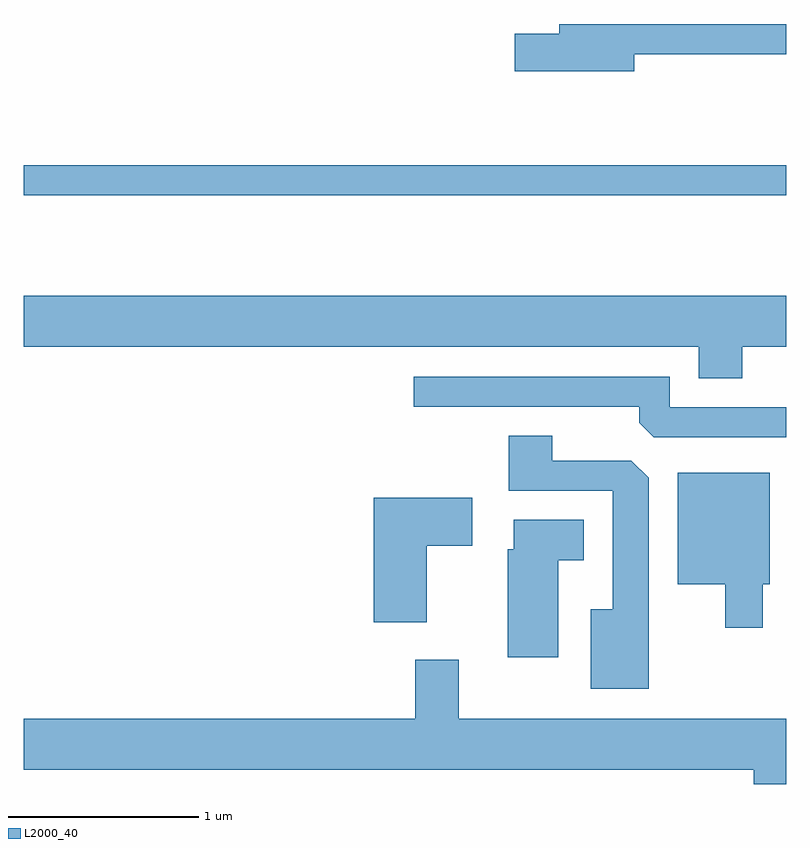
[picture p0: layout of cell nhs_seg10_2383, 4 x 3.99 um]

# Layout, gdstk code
import gdstk
lib = gdstk.Library(unit=1e-6, precision=1e-09)
def R(c, l, rs):  # rectangles x0, y0, x1, y1
    for r in rs: c.add(gdstk.rectangle(r[:2], r[2:], *l))
def P(c, l, *ps):  # polygons
    for p in ps: c.add(gdstk.Polygon(p, *l))
L2000_40 = (2000, 40)

nhs_seg10_2383 = lib.new_cell('nhs_seg10_2383')
R(nhs_seg10_2383, L2000_40, [(255.611,2103.611,259.611,2103.769)])
P(nhs_seg10_2383, L2000_40, [(258.814,2104.351),(259.611,2104.351),(259.611,2104.509),(258.421,2104.509),(258.421,2104.459),(258.186,2104.459),(258.186,2104.261),(258.814,2104.261)],
  [(259.379,2102.816),(259.611,2102.816),(259.611,2103.084),(255.611,2103.084),(255.611,2102.816),(259.151,2102.816),(259.151,2102.651),(259.379,2102.651)],
  [(259.611,2102.499),(258.999,2102.499),(258.999,2102.659),(257.658,2102.659),(257.658,2102.501),(258.841,2102.501),(258.841,2102.417),(258.916,2102.341),(259.611,2102.341)],
  [(258.889,2102.129),(258.799,2102.219),(258.384,2102.219),(258.384,2102.349),(258.156,2102.349),(258.156,2102.061),(258.701,2102.061),(258.701,2101.439),(258.586,2101.439),(258.586,2101.021),(258.889,2101.021)],
  [(259.489,2101.571),(259.524,2101.571),(259.524,2102.154),(259.041,2102.154),(259.041,2101.571),(259.291,2101.571),(259.291,2101.341),(259.489,2101.341)],
  [(257.724,2101.771),(257.964,2101.771),(257.964,2102.024),(257.446,2102.024),(257.446,2101.371),(257.724,2101.371)],
  [(258.414,2101.696),(258.549,2101.696),(258.549,2101.909),(258.181,2101.909),(258.181,2101.754),(258.151,2101.754),(258.151,2101.186),(258.414,2101.186)],
  [(259.611,2100.864),(257.894,2100.864),(257.894,2101.174),(257.666,2101.174),(257.666,2100.864),(255.611,2100.864),(255.611,2100.596),(259.441,2100.596),(259.441,2100.522),(259.611,2100.522)])

lib.write_gds('nhs_seg10_2383.gds')
